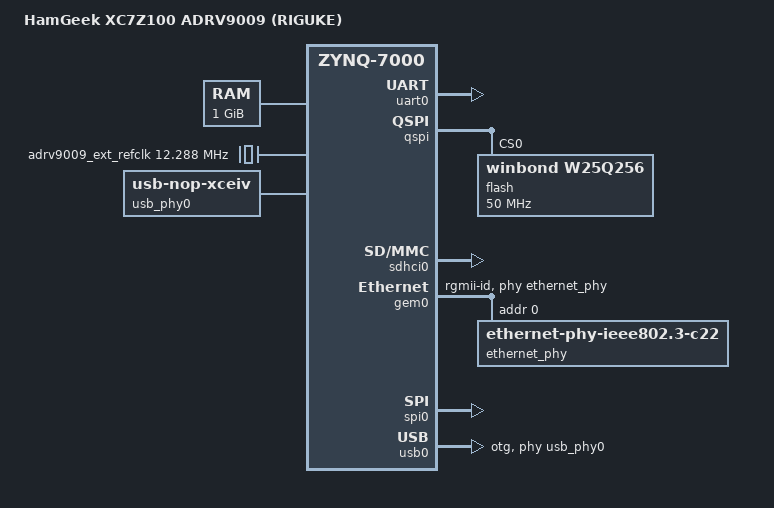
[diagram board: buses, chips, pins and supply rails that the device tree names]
// SPDX-License-Identifier: GPL-2.0
/*
 * HamGeek / RIGUKE XC7Z100 + ADRV9009 carrier -- U-Boot control DT.
 *
 * PS-ONLY, BY DESIGN -- and this tree is what LINUX RUNS ON. U-Boot hands its
 * built-in control FDT (fdtcontroladdr) to the kernel through the EFI
 * configuration table, so this file is the board's production device tree, not
 * merely a bootloader-private one. It is kept a property-for-property mirror of
 * the kernel's arch/arm/boot/dts/xilinx/zynq-adrv9009.dts (plus the U-Boot-only
 * additions called out below); if one changes, change the other.
 *
 * NO PL CONTENT MAY APPEAR HERE. The PL bitstream lifecycle moved to userspace
 * on 2026-07-26: nothing programs the PL in the bootloader, the board boots with
 * a DARK PL, and /usr/local/bin/adrv9009-fpga-up programs it on demand and then
 * applies the runtime overlay (rfsim/tools/adrv9009/adrv9009-pl.dts in the
 * soft8021x repo) that adds the whole fpga-axi JESD204B subsystem AND the two
 * spi0 device nodes (AD9528, ADRV9009). Describing any of that here makes the
 * kernel's drivers probe AXI IP that does not exist and the board wedges with no
 * console output at all -- reproduced twice on silicon, recovered only by a JTAG
 * PS soft reset. Until 2026-07-27 this file carried the full radio subtree,
 * which is why a GRUB `devicetree` override had to substitute a PS-only DTB;
 * stripping it here fixes that at the correct layer and retires the override.
 *
 * The SPI DEVICES belong to the overlay, not here, because the ADRV9009 phy's
 * device clocks (jesd_rx_clk / jesd_tx_clk / jesd_rx_os_clk) are outputs of the
 * PL JESD204B link cores and the AD9528's reset line is an EMIO GPIO -- both are
 * PL. U-Boot does not drive the radio at all (ZYNQ_SPI is off; SPI bus 0 is the
 * QSPI that SPL/u-boot.img and the environment live on).
 *
 * The overlay resolves &fpga_full by symbol, so this DTB MUST be built with
 * dtc -@ (__symbols__). CONFIG_OF_LIBFDT_OVERLAY=y in zynq_adrv9009_defconfig
 * is what turns that on -- do not drop it.
 *
 * U-Boot-only additions on top of the kernel tree -- and this list is
 * EXHAUSTIVE; everything else must match the kernel property for property:
 *   - bootph-all on the PS boot essentials, so fdtgrep keeps them in the
 *     trimmed SPL DTB;
 *   - an absolute chosen/stdout-path (not the serial0: alias), because the
 *     fdtgrep-built SPL DTB may drop /aliases;
 *   - &adc #thermal-sensor-cells and the &devcfg clock override, both of
 *     which only exist because U-Boot's zynq-7000.dtsi is kept upstream-clean
 *     while the kernel's carries the equivalent (see their own comments);
 *   - the efuse@f800d000 node, which is inert upstream .dtsi content U-Boot
 *     inherited and binds no driver to.
 *
 * &usb0 is NOT a U-Boot-only addition any more: the kernel tree carries the
 * identical okay/otg/phy-reset-gpio node as of 2026-07-28.
 *
 * /reserved-memory/linux,cma is NOT a U-Boot-only addition either: it is
 * MIRRORED from the kernel tree (linux-6.18.y-lc @ 72d3370828c4) and the two
 * must stay identical. It has to be in this file to have any effect at all,
 * because this is the tree Linux runs on.
 *
 * The QSPI flash node deliberately declares NO partition map, in EITHER tree --
 * see the comment on flash@0 for the measurement that removed it.
 *
 * U-Boot-only content that is NOT in this file, so it cannot drift: the binman
 * NOR-blob description and the SMBIOS identity node live in
 * arch/arm/dts/zynq-adrv9009-u-boot.dtsi.
 *
 * Console: ground-truthed against the board's WORKING stock DTB -- serial0 =
 * "/axi/serial@e0000000" (UART0, ttyPS0), UART1 (e0001000) is disabled.
 */
/dts-v1/;

#include "zynq-7000.dtsi"
#include <dt-bindings/gpio/gpio.h>

/ {
	model = "HamGeek XC7Z100 ADRV9009 (RIGUKE)";
	compatible = "hamgeek,xc7z100-adrv9009", "xlnx,zynq-7000";

	aliases {
		ethernet0 = &gem0;
		serial0 = &uart0;
		spi0 = &qspi;
		mmc0 = &sdhci0;
	};

	chosen {
		/*
		 * Absolute node path (not a serial0: alias) so the fdtgrep-built
		 * SPL DTB -- which may drop /aliases -- still resolves a live
		 * stdout. The amba bus node is named "axi" in zynq-7000.dtsi.
		 */
		stdout-path = "/axi/serial@e0000000:115200n8";
	};

	memory@0 {
		bootph-all;
		device_type = "memory";
		/* 1 GiB -- matches stock + the recovered ps7 DDR init */
		reg = <0x0 0x40000000>;
	};

	/*
	 * CMA sizing, declared rather than inherited. Board-bootloader policy §4
	 * treats the shared armhf default as a fallback, not a sizing decision,
	 * and this platform has NO IOMMU with an AXI-DMA JESD204B datapath -- so
	 * every DMA buffer must be physically contiguous and comes out of CMA.
	 *
	 * NOT a bug fix, and must not be described as one: the board runs the
	 * 64 MiB shared default today (CmaTotal: 65536 kB, "cma: Reserved 64 MiB
	 * at 0x39800000") and has NEVER logged an allocation failure. This makes
	 * the sizing explicit and gives it headroom.
	 *
	 * Measured peak concurrent demand is 42 MiB:
	 *   - 32 MiB RX IIO buffer, which iio_dma_buffer_request_update() splits
	 *     into two 16 MiB blocks -- so the largest SINGLE contiguous
	 *     allocation is 16 MiB, not 32;
	 *   -  2 MiB TX buffer armed concurrently in the e2e loopback;
	 *   -  8 MiB cyclic-TX CMA-heap dma-buf.
	 * 96 MiB leaves headroom at that 16 MiB granularity.
	 *
	 * MIRRORED FROM THE KERNEL TREE, linux-6.18.y-lc
	 * arch/arm/boot/dts/xilinx/zynq-adrv9009.dts @ 72d3370828c4. It has to be
	 * here to have any effect: U-Boot hands THIS tree to Linux through the EFI
	 * configuration table (see the file header), so the kernel-side node only
	 * applies when a media /dtb/ override is used. Keep the two identical.
	 *
	 * No bootph-* marker: the SPL does not need this node.
	 */
	reserved-memory {
		#address-cells = <1>;
		#size-cells = <1>;
		ranges;

		linux_cma: linux,cma {
			compatible = "shared-dma-pool";
			reusable;
			linux,cma-default;
			size = <0x6000000>;	/* 96 MiB */
			alignment = <0x100000>;	/* 1 MiB */
		};
	};

	/*
	 * The 12.288 MHz board oscillator that feeds the AD9528's REFA input.
	 * PL-independent (a discrete XO on the carrier), so it lives here.
	 * Like stock, nothing references it by phandle -- the AD9528 takes REFA
	 * as a physical input and is told about it through adi,refa-*
	 * properties. Kept as documentation of the reference frequency the
	 * AD9528 PLL1 parameters were computed for.
	 */
	adrv9009_ext_refclk: clock-adrv9009-ext-refclk {
		compatible = "fixed-clock";
		#clock-cells = <0>;
		clock-frequency = <12288000>;
		clock-output-names = "adrv9009_ext_refclk";
	};

	/*
	 * The USB0 ULPI transceiver, as a "nop" USB PHY.
	 *
	 * THIS EXISTS FOR LINUX, and it is load-bearing there, not decoration:
	 * because this tree is the one Linux runs on, this node is the only way
	 * the kernel's ChipIdea CORE can bind. drivers/usb/chipidea/core.c
	 * ci_hdrc_probe() ends its PHY search with
	 *   if (!ci->phy && !ci->usb_phy) { ret = -ENXIO; goto ulpi_exit; }
	 * so with no USB PHY registered anywhere it fails probe silently -- as
	 * measured on this board: /sys/bus/platform/devices/ci_hdrc.0 present
	 * with NO driver symlink, empty devices_deferred, no /sys/class/usb_phy.
	 * phy-generic.c registers this node with .type = USB_PHY_TYPE_USB2 and
	 * ChipIdea's last-resort devm_usb_get_phy() finds it. Mainline's own
	 * Zynq boards (zc702/zed/cc108/zc770-xm011) carry the identical node.
	 *
	 * U-Boot itself does NOT consume it: ehci-zynq does its own ULPI
	 * viewport init in probe and never looks for a phy phandle, and no
	 * UCLASS_PHY driver is enabled in zynq_adrv9009_defconfig, so the node
	 * is inert here. `ums`/`dfu`/`fastboot` are unaffected.
	 *
	 * NO reset-gpios, DELIBERATELY. The reset IS wired (MIO46 -- that is
	 * what xlnx,phy-reset-gpio on &usb0 records) and ps7_init already
	 * pulses it high->low->high (DIRM_1/OEN_1 bit 14, MASK_DATA_1_LSW
	 * 0xBFFF4000 -> 0xBFFF0000 -> 0xBFFF4000), i.e. the line is ACTIVE LOW
	 * and is left deasserted. Handing it to Linux's phy-generic would be a
	 * regression risk: usb_phy_gen_create_phy() asserts reset at its own
	 * probe, while ci_hdrc_probe() reads the ULPI vendor/product ID through
	 * the controller viewport (fatally, via ulpi_read_id()) BEFORE it even
	 * looks the PHY up -- and the two probe orders are not ordered.
	 *
	 * MUST STAY IDENTICAL to the kernel's
	 * arch/arm/boot/dts/xilinx/zynq-adrv9009.dts.
	 */
	usb_phy0: phy0 {
		compatible = "usb-nop-xceiv";
		#phy-cells = <0>;
	};

	/*
	 * XC7Z100 die temperature, from the PS XADC (adc@f8007100).
	 *
	 * THIS IS A SHUTDOWN INTERLOCK, NOT A COOLING POLICY. This carrier has
	 * NO FAN and no fan controller, and Zynq-7000 has frequency scaling
	 * only -- no voltage scaling -- so capping cpufreq at idle was measured
	 * to be worth nothing (+0.28 degC, inside the 1.43 degC noise floor of
	 * this instrument). A passive trip would have essentially nothing to
	 * act on, so none is declared. The one thing this zone genuinely buys
	 * is the CRITICAL trip: an orderly emergency shutdown instead of
	 * running the die past its rated junction temperature.
	 *
	 * 85 degC is the maximum junction temperature of the RECOMMENDED
	 * OPERATING RANGE for a commercial temperature-grade part, from Xilinx
	 * DS191 (v1.17, 2015-11-24), Table 2 "Recommended Operating
	 * Conditions". The temperature grade of the part fitted to this carrier
	 * is not readable in software, so the COMMERCIAL number is used: it is
	 * the lowest of the four grades and therefore safe whichever is
	 * installed. The 125 degC of DS191 Table 1 is a stress/damage rating,
	 * not an operating limit, so it is deliberately NOT the trip.
	 *
	 * Consumed only by Linux (U-Boot has no thermal core), which is exactly
	 * why it has to be in this tree now that Linux boots on it.
	 */
	thermal-zones {
		soc-thermal {
			polling-delay-passive = <1000>;
			polling-delay = <5000>;
			thermal-sensors = <&adc>;

			trips {
				soc_crit: soc-crit {
					temperature = <85000>;
					hysteresis = <2000>;
					type = "critical";
				};
			};
		};
	};
};

/*
 * The kernel carries #thermal-sensor-cells on adc@f8007100 in its shared
 * zynq-7000.dtsi (commit 4bbee7b8de705); U-Boot's copy of that .dtsi is kept
 * upstream-clean, so the property is added here instead. Without it the
 * thermal-zone above cannot bind to the XADC sensor.
 */
&adc {
	#thermal-sensor-cells = <0>;
};

/*
 * Match the kernel's devcfg clock list exactly. U-Boot's zynq-7000.dtsi still
 * carries the old Xilinx-vendor form -- ref_clk plus fclk0..3 -- which mainline
 * Linux does not: its zynq-fpga driver only ever does
 * devm_clk_get(dev, "ref_clk") (drivers/fpga/zynq-fpga.c), the four fclk
 * entries were the vendor xdevcfg driver's, and U-Boot itself binds no driver
 * to this node at all (nothing in U-Boot matches "xlnx,zynq-devcfg-1.0"), so
 * they are inert here and misleading in the tree Linux receives.
 *
 * Overridden at BOARD level rather than by editing zynq-7000.dtsi: that .dtsi
 * is upstream-clean and shared by 21 other Zynq boards in this tree that we
 * cannot test -- the same reason #thermal-sensor-cells is added above instead
 * of there. (The ANTSDR E310 is not in this U-Boot tree, so no E310 build is
 * affected either way.)
 */
&devcfg {
	clocks = <&clkc 12>;
	clock-names = "ref_clk";
};

&uart0 {
	bootph-all;
	status = "okay";
};

&clkc {
	bootph-all;
	/* Pin FCLK0 + FCLK1 on -- and ONLY those two. THIS is the copy that
	 * decides: U-Boot hands its control FDT to the kernel through the EFI
	 * configuration table, so the kernel tree's identical property is the
	 * reference copy and this one is what the hardware obeys.
	 *
	 * Why force-enable at all: the PL is dark at boot, but the runtime
	 * overlay's AXI cores take their s_axi_aclk from FCLK0 (and their DMA
	 * clock from FCLK1) and are added to a LIVE tree, long after
	 * clk_disable_unused() has run -- so those two must already be ungated
	 * by then. clkc.c clk_prepare_enable()s every set bit for the lifetime
	 * of the system, which is exactly the property we need for FCLK0/1.
	 *
	 * Why not 0xf (stock): NOTHING consumes FCLK2 or FCLK3 -- not the PL
	 * overlay, not the stock vendor DT (whose only reference is
	 * devcfg@f8007000 listing all four for the VENDOR xdevcfg driver;
	 * mainline's devcfg takes only <&clkc 12> pcap ref_clk). Measured on
	 * sdr-pro-alpha under 0xf with the radio up: fclk0 enable_count=7,
	 * fclk1=4, fclk2=1, fclk3=1 -- the 1s being clkc's own force-enable and
	 * nothing downstream. fclk2 is the fastest of the four at 250 MHz, so
	 * 0xf was running a 250 MHz PL clock tree with no destination.
	 *
	 * This is a correctness/hygiene change and NO thermal benefit is claimed
	 * for it. The before/after XADC die temperature is recorded in the
	 * platform README; read it there rather than assuming one. */
	fclk-enable = <0x3>;
};

&gpio0 {
	bootph-all;
};

&qspi {
	bootph-all;
	status = "okay";
	is-dual = <1>;
	num-cs = <1>;
	#address-cells = <1>;
	#size-cells = <0>;

	flash@0 {
		bootph-all;
		compatible = "winbond,w25q256", "jedec,spi-nor";
		reg = <0>;
		spi-tx-bus-width = <1>;
		spi-rx-bus-width = <4>;
		spi-max-frequency = <50000000>;
		#address-cells = <1>;
		#size-cells = <1>;

		/*
		 * BRICK GUARD, do not remove. The W25Q256 is 32 MiB, so 4-byte
		 * addressing is in play by construction. Linux's spi_nor_restore()
		 * only issues the EX4B (0xE9) exit-4-byte-mode command when the
		 * part is flagged SNOR_F_BROKEN_RESET, i.e. when this property is
		 * present. Without it, a kernel that has entered 4-byte mode leaves
		 * the flash in 4-byte mode across a warm reset -- and the Zynq
		 * BootROM issues only 3-byte reads, so it cannot fetch the FSBL and
		 * the board is dead until a cold power cycle. That exact failure
		 * bricked the sibling E310 on 2026-07-26.
		 */
		broken-flash-reset;

		/*
		 * NO PARTITION MAP -- deliberately, and this is a REMOVAL, not an
		 * omission. The five stock Xilinx partitions transcribed here
		 * until 2026-07-30 (boot 0x0+0x500000, bootenv 0x500000, config
		 * 0x520000, image 0x540000, spare 0xfc0000) described nothing
		 * that is in the flash. Measured byte-for-byte against the vendor
		 * BOOT.BIN (rf/rfsim/reference/adrv9009-qspi-nor-contents.md in
		 * the claude repo): one contiguous 17 416 352 B PL bitstream
		 * occupies 0x300000-0x139C0A0, spanning "bootenv", "config",
		 * "image" and the head of "spare". So an mtd or DFU write aimed
		 * at the declared bootenv or config partition destroyed bitstream,
		 * and a config sector at the stock 0x520000 would have been
		 * clobbered by it.
		 *
		 * Declaring no map is safer than declaring a wrong one -- the
		 * sibling zynq_e310 declares none either. The real layout is
		 * expressed where it is actually acted on: the DFU
		 * alternate-setting map in
		 * board/xilinx/zynq/zynq-adrv9009/board.c and
		 * CONFIG_BOARD_CONFIG_NOR_OFFSET in the defconfig, both derived
		 * from that measurement.
		 *
		 * Consequence to be aware of: Linux no longer exposes mtd0..mtd4.
		 * The whole device is one mtd, which is what it always physically
		 * was.
		 */
	};
};

/*
 * No broken-cd / disable-wp / no-1-8-v here. All three were carried over from
 * the U-Boot bring-up on assumption, the stock ADI DTB has none of them, and
 * all three were falsified by reading the controller on silicon (2026-07-28,
 * at this board's own Zynq> prompt):
 *
 *   md 0xe0100024 1   ->  e0100024: 01ff0000    PRESENT_STATE
 *   md 0xe0100040 2   ->  e0100040: 69ec0080 00000000   CAPABILITIES{,_1}
 *
 * PRESENT_STATE bit16 (Card Inserted) = 1 and bit18 (Card Detect Pin Level)
 * = 1, so the CD line IS wired and reads correctly -- broken-cd would only
 * force sdhci_get_cd() to fake "always present" and make Linux poll a working
 * detect line. bit19 (Write Protect Pin Level) = 1 (write enabled), so
 * disable-wp masks nothing either (and no U-Boot driver reads it). And
 * CAPABILITIES bit26 (CAN_VDD_180) = 0 with CAPABILITIES_1 = 0, i.e. the
 * controller advertises no 1.8V rail and no SDR50/SDR104/DDR50 at all, so
 * sdhci_setup_cfg() already clears every UHS cap on the voltage test alone --
 * no-1-8-v is a provable no-op on this part (CONFIG_MMC_UHS_SUPPORT is off in
 * this defconfig as well).
 */
&sdhci0 {
	bootph-all;
	status = "okay";
};

&gem0 {
	status = "okay";
	phy-mode = "rgmii-id";
	phy-handle = <&ethernet_phy>;

	ethernet_phy: ethernet-phy@0 {
		reg = <0>;
		compatible = "ethernet-phy-ieee802.3-c22";
	};
};

/*
 * PS SPI0 (spi@e0006000) -- the bus the AD9528 clock chip (CS0) and the ADRV9009
 * phy (CS1) hang off. Only the CONTROLLER is enabled here, so it is probed at
 * boot and is live when the PL overlay adds its two children: spi.c's
 * of_spi_notify() creates an spi_device for a child added to a live controller,
 * which is why the controller cannot wait for the overlay. The DEVICE nodes are
 * PL-dependent -- do not add them here (see the header).
 */
&spi0 {
	status = "okay";
};

/*
 * USB0 (usb@e0002000) = the Zynq-7000 ChipIdea OTG controller wired to the
 * board's OTG port, ULPI PHY. Stock Linux DT had this node status="okay" with
 * dr_mode="host" and a xlnx,phy-reset-gpio on gpio0 pin 46. Enable it as OTG so
 * u-boot can run it as a gadget (ums/dfu/fastboot expose storage over USB) via
 * ci_udc + ehci-zynq (which does the ULPI viewport init in its probe). USB1
 * (usb@e0003000) stays disabled (as in stock). phy_type="ulpi" is inherited
 * from zynq-7000.dtsi. The phy-reset-gpio is carried over for completeness --
 * u-boot's ehci-zynq does not toggle it, but it documents the wiring; the
 * FSBL/ps7_init pulse on that pin is high->low->high, so the line is
 * electrically ACTIVE LOW and arrives at Linux already deasserted.
 *
 * usb-phy is what lets the KERNEL's ChipIdea core bind (see usb_phy0 above);
 * U-Boot ignores it.
 */
&usb0 {
	status = "okay";
	dr_mode = "otg";
	usb-phy = <&usb_phy0>;
	xlnx,phy-reset-gpio = <&gpio0 46 GPIO_ACTIVE_HIGH>;
};
